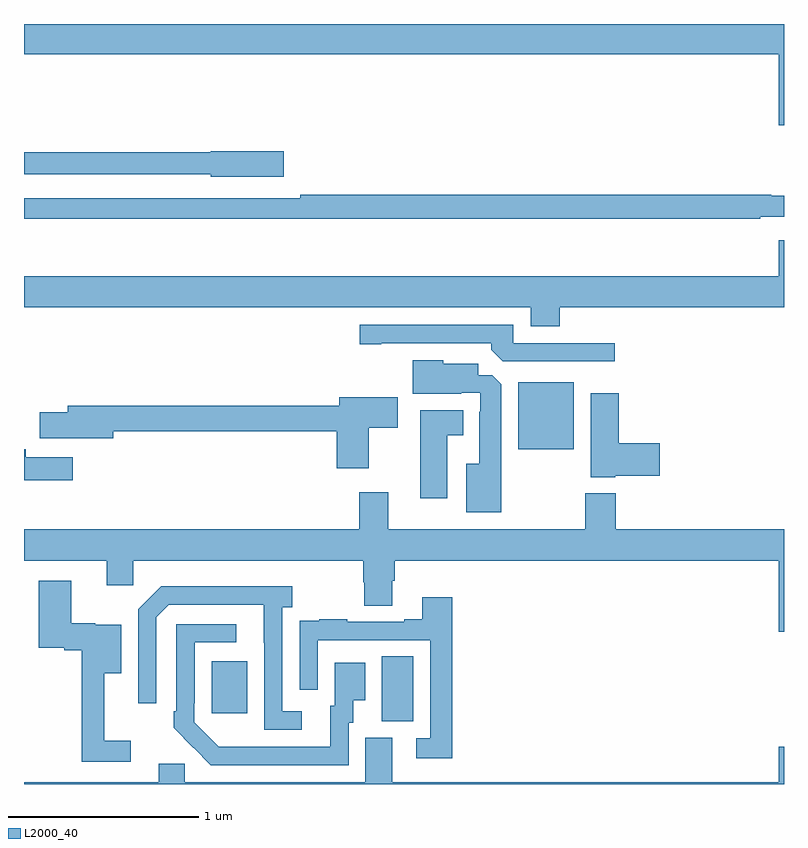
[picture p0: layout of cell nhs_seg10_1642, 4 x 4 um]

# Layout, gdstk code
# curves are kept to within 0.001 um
import gdstk
lib = gdstk.Library(unit=1e-6, precision=1e-09)
def R(c, l, rs):  # rectangles x0, y0, x1, y1
    for r in rs: c.add(gdstk.rectangle(r[:2], r[2:], *l))
def P(c, l, *ps):  # polygons
    for p in ps: c.add(gdstk.Polygon(p, *l))
L2000_40 = (2000, 40)

nhs_seg10_1642 = lib.new_cell('nhs_seg10_1642')
R(nhs_seg10_1642, L2000_40, [(198.884,1272.829,199.048,1273.172), (197.987,1272.873,198.175,1273.147), (199.601,1274.261,199.894,1274.614)])
P(nhs_seg10_1642, L2000_40, [(197,1276.34),(200.972,1276.34),(200.972,1275.966),(201,1275.966),(201,1276.5),(197,1276.5)],
  [(198.367,1275.83),(197.982,1275.83),(197.982,1275.824),(197,1275.824),(197,1275.708),(197.982,1275.708),(197.982,1275.695),(198.367,1275.695)],
  [(200.876,1275.486),(201,1275.486),(201,1275.595),(200.932,1275.595),(200.932,1275.602),(198.454,1275.602),(198.454,1275.582),(197,1275.582),(197,1275.474),(200.876,1275.474)],
  [(199.82,1275.008),(201,1275.008),(201,1275.361),(200.972,1275.361),(200.972,1275.172),(197,1275.172),(197,1275.008),(199.667,1275.008),(199.667,1274.909),(199.82,1274.909)],
  [(200.11,1274.82),(199.575,1274.82),(199.575,1274.916),(198.768,1274.916),(198.768,1274.815),(198.88,1274.815),(198.88,1274.82),(199.46,1274.82),(199.46,1274.786),(199.521,1274.724),(200.11,1274.724)],
  [(199.513,1274.603),(199.464,1274.652),(199.39,1274.652),(199.39,1274.713),(199.206,1274.713),(199.206,1274.731),(199.046,1274.731),(199.046,1274.555),(199.301,1274.555),(199.301,1274.559),(199.401,1274.559),(199.401,1274.459),(199.397,1274.459),(199.397,1274.185),(199.328,1274.185),(199.328,1273.931),(199.513,1273.931)],
  [(200.112,1274.123),(200.347,1274.123),(200.347,1274.294),(200.129,1274.294),(200.129,1274.557),(199.982,1274.557),(199.982,1274.114),(200.112,1274.114)],
  [(198.814,1274.374),(198.967,1274.374),(198.967,1274.536),(198.659,1274.536),(198.659,1274.492),(197.231,1274.492),(197.231,1274.456),(197.082,1274.456),(197.082,1274.321),(197.47,1274.321),(197.47,1274.356),(198.647,1274.356),(198.647,1274.163),(198.814,1274.163)],
  [(199.228,1274.336),(199.312,1274.336),(199.312,1274.467),(199.085,1274.467),(199.085,1274.004),(199.228,1274.004)],
  [(197.257,1274.221),(197.008,1274.221),(197.008,1274.263),(197,1274.263),(197,1274.099),(197.257,1274.099)],
  [(200.972,1273.302),(201,1273.302),(201,1273.84),(200.114,1273.84),(200.114,1274.029),(199.954,1274.029),(199.954,1273.84),(198.916,1273.84),(198.916,1274.035),(198.764,1274.035),(198.764,1273.84),(197,1273.84),(197,1273.676),(197.435,1273.676),(197.435,1273.545),(197.574,1273.545),(197.574,1273.676),(198.785,1273.676),(198.785,1273.563),(198.79,1273.563),(198.79,1273.438),(198.937,1273.438),(198.937,1273.57),(198.95,1273.57),(198.95,1273.676),(200.972,1273.676)],
  [(197.563,1272.727),(197.423,1272.727),(197.423,1273.082),(197.512,1273.082),(197.512,1273.339),(197.376,1273.339),(197.376,1273.347),(197.248,1273.347),(197.248,1273.57),(197.078,1273.57),(197.078,1273.217),(197.211,1273.217),(197.211,1273.205),(197.305,1273.205),(197.305,1272.618),(197.563,1272.618)],
  [(198.463,1272.882),(198.36,1272.882),(198.36,1273.43),(198.412,1273.43),(198.412,1273.54),(197.722,1273.54),(197.601,1273.419),(197.601,1272.924),(197.697,1272.924),(197.697,1273.377),(197.763,1273.443),(198.263,1273.443),(198.264,1272.786),(198.463,1272.786)],
  [(199.253,1273.483),(199.097,1273.483),(199.097,1273.366),(199.001,1273.366),(199.001,1273.353),(198.701,1273.353),(198.701,1273.366),(198.553,1273.366),(198.553,1273.359),(198.451,1273.359),(198.451,1273.25),(198.45,1273.25),(198.45,1272.996),(198.546,1272.996),(198.546,1273.257),(199.137,1273.257),(199.137,1272.741),(199.065,1272.741),(199.065,1272.636),(199.253,1272.636)],
  [(198.708,1272.822),(198.733,1272.822),(198.733,1272.941),(198.796,1272.941),(198.796,1273.138),(198.635,1273.138),(198.635,1272.912),(198.611,1272.912),(198.611,1272.696),(198.024,1272.697),(197.895,1272.825),(197.895,1272.925),(197.898,1272.925),(197.898,1273.245),(198.118,1273.245),(198.118,1273.341),(197.802,1273.341),(197.802,1272.883),(197.787,1272.883),(197.787,1272.795),(197.984,1272.6),(198.708,1272.6)],
  [(201,1272.697),(200.972,1272.697),(200.972,1272.508),(198.937,1272.508),(198.937,1272.744),(198.797,1272.744),(198.797,1272.508),(197.847,1272.508),(197.847,1272.606),(197.708,1272.606),(197.708,1272.508),(197,1272.508),(197,1272.5),(201,1272.5)])

lib.write_gds('nhs_seg10_1642.gds')
